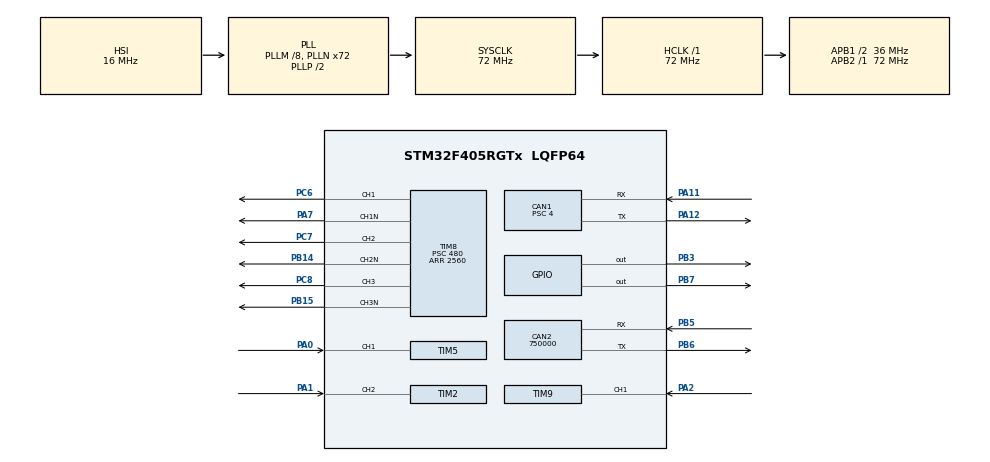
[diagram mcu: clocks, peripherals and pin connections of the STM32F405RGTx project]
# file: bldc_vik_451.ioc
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CAN1.BS1=CAN_BS1_15TQ
CAN1.BS2=CAN_BS2_2TQ
CAN1.CalculateBaudRate=500000
CAN1.CalculateTimeBit=1999.99
CAN1.CalculateTimeQuantum=111.11111111111111
CAN1.Prescaler=4
CAN2.CalculateBaudRate=750000
CAN2.CalculateTimeBit=1333.33
CAN2.CalculateTimeQuantum=444.44444444444446
Mcu.Family=STM32F4
Mcu.Name=STM32F405RGTx
Mcu.Package=LQFP64
NVIC.CAN1_RX0_IRQn=true\:0\:0\:false\:false\:true\:true\:true
NVIC.CAN1_SCE_IRQn=true\:0\:0\:false\:false\:true\:true\:true
NVIC.PriorityGroup=NVIC_PRIORITYGROUP_4
NVIC.TIM1_BRK_TIM9_IRQn=true\:0\:0\:false\:false\:true\:true\:true
NVIC.TIM2_IRQn=true\:0\:0\:false\:false\:true\:true\:true
NVIC.TIM5_IRQn=true\:0\:0\:false\:false\:true\:true\:true
NVIC.TIM6_DAC_IRQn=true\:0\:0\:false\:false\:true\:true\:true
NVIC.TIM7_IRQn=true\:0\:0\:false\:false\:true\:true\:true
PA0-WKUP.GPIO_PuPd=GPIO_PULLUP
PA0-WKUP.GPIO_Speed=GPIO_SPEED_FREQ_VERY_HIGH
PA0-WKUP.Signal=S_TIM5_CH1
PA1.GPIO_PuPd=GPIO_PULLUP
PA1.GPIO_Speed=GPIO_SPEED_FREQ_VERY_HIGH
PA1.Signal=S_TIM2_CH2
PA11.Mode=CAN_Activate
PA11.Signal=CAN1_RX
PA12.Mode=CAN_Activate
PA12.Signal=CAN1_TX
PA2.GPIO_PuPd=GPIO_PULLUP
PA2.GPIO_Speed=GPIO_SPEED_FREQ_VERY_HIGH
PA2.Signal=S_TIM9_CH1
PA7.Mode=PWM Generation1 CH1 CH1N
PA7.Signal=TIM8_CH1N
PB14.Mode=PWM Generation2 CH2 CH2N
PB14.Signal=TIM8_CH2N
PB15.Mode=PWM Generation3 CH3 CH3N
PB15.Signal=TIM8_CH3N
PB3.Signal=GPIO_Output
PB5.Mode=CAN_Activate
PB5.Signal=CAN2_RX
PB6.Mode=CAN_Activate
PB6.Signal=CAN2_TX
PB7.Signal=GPIO_Output
PB8.Signal=I2C1_SCL
PB9.Signal=I2C1_SDA
PC6.Signal=S_TIM8_CH1
PC7.Signal=S_TIM8_CH2
PC8.Signal=S_TIM8_CH3
ProjectManager.HeapSize=0x200
ProjectManager.StackSize=0x400
ProjectManager.TargetToolchain=MDK-ARM V5.32
RCC.48MHZClocksFreq_Value=36000000
RCC.AHBFreq_Value=72000000
RCC.APB1CLKDivider=RCC_HCLK_DIV2
RCC.APB1Freq_Value=36000000
RCC.APB1TimFreq_Value=72000000
RCC.APB2Freq_Value=72000000
RCC.APB2TimFreq_Value=72000000
RCC.CortexFreq_Value=72000000
RCC.HCLKFreq_Value=72000000
RCC.HSE_VALUE=25000000
RCC.HSI_VALUE=16000000
RCC.LSE_VALUE=32768
RCC.PLLM=8
RCC.PLLN=72
RCC.SYSCLKFreq_VALUE=72000000
RCC.SYSCLKSource=RCC_SYSCLKSOURCE_PLLCLK
RCC.VCOOutputFreq_Value=144000000
SH.S_TIM2_CH2.0=TIM2_CH2,Input_Capture2_from_TI2
SH.S_TIM5_CH1.0=TIM5_CH1,Input_Capture1_from_TI1
SH.S_TIM8_CH1.0=TIM8_CH1,PWM Generation1 CH1 CH1N
SH.S_TIM8_CH2.0=TIM8_CH2,PWM Generation2 CH2 CH2N
SH.S_TIM8_CH3.0=TIM8_CH3,PWM Generation3 CH3 CH3N
SH.S_TIM9_CH1.0=TIM9_CH1,Input_Capture1_from_TI1
TIM2.Channel-Input_Capture1_from_TI2_63=TIM_CHANNEL_1
TIM2.Channel-Input_Capture2_from_TI2=TIM_CHANNEL_2
TIM2.ICFilter_CH2=15
TIM2.ICPolarity_CH1=TIM_INPUTCHANNELPOLARITY_FALLING
TIM2.Period=0xFFFFFFF
TIM2.Prescaler=15
TIM5.Channel-Input_Capture1_from_TI1=TIM_CHANNEL_1
TIM5.Channel-Input_Capture2_from_TI1_63=TIM_CHANNEL_2
TIM5.ICFilter_CH1=15
TIM5.ICPolarity_CH2=TIM_INPUTCHANNELPOLARITY_FALLING
TIM5.Period=0xFFFFFFF
TIM5.Prescaler=15
TIM6.AutoReloadPreload=TIM_AUTORELOAD_PRELOAD_ENABLE
TIM6.Period=3000
TIM6.Prescaler=5
TIM7.Prescaler=5
TIM8.BreakPolarity=TIM_BREAKPOLARITY_LOW
TIM8.Channel-PWM\ Generation1\ CH1\ CH1N=TIM_CHANNEL_1
TIM8.Channel-PWM\ Generation2\ CH2\ CH2N=TIM_CHANNEL_2
TIM8.Channel-PWM\ Generation3\ CH3\ CH3N=TIM_CHANNEL_3
TIM8.DeadTime=20
TIM8.OCNIdleState_1=TIM_OCNIDLESTATE_RESET
TIM8.OCNIdleState_2=TIM_OCNIDLESTATE_RESET
TIM8.OCNIdleState_3=TIM_OCNIDLESTATE_RESET
TIM8.OCNPolarity_1=TIM_OCNPOLARITY_LOW
TIM8.OCNPolarity_2=TIM_OCNPOLARITY_LOW
TIM8.OCNPolarity_3=TIM_OCNPOLARITY_LOW
TIM8.OCPolarity_1=TIM_OCPOLARITY_LOW
TIM8.OCPolarity_2=TIM_OCPOLARITY_LOW
TIM8.OCPolarity_3=TIM_OCPOLARITY_LOW
TIM8.Period=2560
TIM8.Prescaler=480
TIM9.Channel-Input_Capture1_from_TI1=TIM_CHANNEL_1
TIM9.Channel-Input_Capture2_from_TI1_63=TIM_CHANNEL_2
TIM9.ICFilter_CH1=15
TIM9.ICPolarity_CH2=TIM_INPUTCHANNELPOLARITY_FALLING
TIM9.Prescaler=15
VP_TIM2_VS_ClockSourceINT.Mode=Internal
VP_TIM2_VS_indirect_ch2.Mode=Input_Capture1_from_TI2_63
VP_TIM5_VS_ClockSourceINT.Mode=Internal
VP_TIM5_VS_indirect_ch1.Mode=Input_Capture2_from_TI1_63
VP_TIM6_VS_ClockSourceINT.Mode=Enable_Timer
VP_TIM7_VS_ClockSourceINT.Mode=Enable_Timer
VP_TIM8_VS_ClockSourceINT.Mode=Internal
VP_TIM9_VS_ClockSourceINT.Mode=Internal
VP_TIM9_VS_indirect_ch1.Mode=Input_Capture2_from_TI1_63
board=custom

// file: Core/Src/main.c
/* USER CODE BEGIN Header */
/**
  ******************************************************************************
  * @file           : main.c
  * @brief          : Main program body
  ******************************************************************************
  * @attention
  *
  * <h2><center>&copy; Copyright (c) 2023 STMicroelectronics.
  * All rights reserved.</center></h2>
  *
  * This software component is licensed by ST under BSD 3-Clause license,
  * the "License"; You may not use this file except in compliance with the
  * License. You may obtain a copy of the License at:
  *                        opensource.org/licenses/BSD-3-Clause
  *
  ******************************************************************************
  */
/* USER CODE END Header */
#include "main.h"

/* USER CODE BEGIN Includes */

#define DEMCR           (*((volatile unsigned long*) (0xE000EDFC)))
#define TRCENA 0x01000000
/* USER CODE END Includes */

CAN_HandleTypeDef hcan1;
CAN_HandleTypeDef hcan2;

TIM_HandleTypeDef htim2;
TIM_HandleTypeDef htim5;
TIM_HandleTypeDef htim6;
TIM_HandleTypeDef htim7;
TIM_HandleTypeDef htim8;
TIM_HandleTypeDef htim9;

/* USER CODE BEGIN PV */
int32_t current_number = 0;
uint32_t tim6_counter_period = tim6_counter_period_high;
float speed = 0; //number of ticks between the HALL_A triggers
uint8_t H1 = HALL_DOWN;
uint8_t H2 = HALL_DOWN;
uint8_t H3 = HALL_DOWN;
uint32_t count_overflow = 0;
float mean_rate = 0;
uint32_t PMSM_PWM = 255;//up 255-899
int32_t timing = 0;
int32_t direction = 1;//direction of rotation
int32_t new_direction = 1;
uint8_t TIM8_PSC = 0;
uint8_t TIM6_PSC = 6;
uint8_t IsOK = 1;
float help = 240000;
float rate = 500;
float prev_rate = 0;
float mean_rate_prev = 0;
float mean_rate_help = 0;
float real_speed = 0;
float prev_real_speed = 0;
float set_PMSM_PWM_b = set_PMSM_PWM_b_regular;
uint32_t min_rate = 800;
uint16_t set_timing = 0;
uint32_t set_PMSM_PWM = 0;
int16_t trigger_position = 0;//Adjustment of the position in the PMSM_SINTABLE in accordance with the triggering of HALL_A

CAN_TxHeaderTypeDef TxHeader;
CAN_RxHeaderTypeDef RxHeader;
uint8_t TxData[8] = {0,};
uint8_t RxData[8] = {0,};
uint32_t TxMailbox = 0;

/* USER CODE END PV */

void SystemClock_Config(void);
static void MX_GPIO_Init(void);
static void MX_TIM8_Init(void);
static void MX_TIM6_Init(void);
static void MX_TIM5_Init(void);
static void MX_TIM2_Init(void);
static void MX_TIM9_Init(void);
static void MX_TIM7_Init(void);
static void MX_CAN1_Init(void);
static void MX_CAN2_Init(void);

/* USER CODE BEGIN 0 */
/*void HAL_CAN_RxFifo0MsgPendingCallback(CAN_HandleTypeDef *hcan)
{
    if(HAL_CAN_GetRxMessage(&hcan1, CAN_RX_FIFO0, &RxHeader, RxData) == HAL_OK)
    {
        rate = (float)RxData[0]*100;
    }
}*/
/* USER CODE END 0 */

int main(void)
{
  /* USER CODE BEGIN 1 */
	//initializing_variables();
  /* USER CODE END 1 */

  /* MCU Configuration--------------------------------------------------------*/

  /* Reset of all peripherals, Initializes the Flash interface and the Systick. */
  HAL_Init();

  /* Configure the system clock */
  SystemClock_Config();

  /* Initialize all configured peripherals */
  MX_GPIO_Init();
  MX_TIM8_Init();
  MX_TIM6_Init();
  MX_TIM5_Init();
  MX_TIM2_Init();
  MX_TIM9_Init();
  MX_TIM7_Init();
  MX_CAN1_Init();
  MX_CAN2_Init();
  /* USER CODE BEGIN 2 */
	HAL_GPIO_WritePin(GPIOB, GPIO_PIN_7, GPIO_PIN_SET);
	HAL_GPIO_WritePin(GPIOB, GPIO_PIN_3, GPIO_PIN_SET);

	HAL_TIM_PWM_Start(&htim8, TIM_CHANNEL_1);
	HAL_TIMEx_PWMN_Start(&htim8, TIM_CHANNEL_1);
	HAL_TIM_PWM_Start(&htim8, TIM_CHANNEL_2);
	HAL_TIMEx_PWMN_Start(&htim8, TIM_CHANNEL_2);
	HAL_TIM_PWM_Start(&htim8, TIM_CHANNEL_3);
	HAL_TIMEx_PWMN_Start(&htim8, TIM_CHANNEL_3);
	HAL_TIM_Base_Start_IT(&htim6);
	HAL_TIM_IC_Start_IT(&htim5, TIM_CHANNEL_1);
  HAL_TIM_IC_Start_IT(&htim5, TIM_CHANNEL_2);
	HAL_TIM_IC_Start_IT(&htim2, TIM_CHANNEL_1);
  HAL_TIM_IC_Start_IT(&htim2, TIM_CHANNEL_2);
	HAL_TIM_IC_Start_IT(&htim9, TIM_CHANNEL_1);
  HAL_TIM_IC_Start_IT(&htim9, TIM_CHANNEL_2);
	HAL_TIM_Base_Start_IT(&htim7);
	/*HAL_CAN_Start(&hcan1);
	HAL_CAN_ActivateNotification(&hcan1, CAN_IT_RX_FIFO0_MSG_PENDING | CAN_IT_ERROR | CAN_IT_BUSOFF | CAN_IT_LAST_ERROR_CODE);
	*/

  /* USER CODE END 2 */

  /* Infinite loop */
  while (1)
  {

  }
}

void SystemClock_Config(void)
{
  RCC_OscInitTypeDef RCC_OscInitStruct = {0};
  RCC_ClkInitTypeDef RCC_ClkInitStruct = {0};

  /** Configure the main internal regulator output voltage
  */
  __HAL_RCC_PWR_CLK_ENABLE();
  __HAL_PWR_VOLTAGESCALING_CONFIG(PWR_REGULATOR_VOLTAGE_SCALE1);
  /** Initializes the RCC Oscillators according to the specified parameters
  * in the RCC_OscInitTypeDef structure.
  */
  RCC_OscInitStruct.OscillatorType = RCC_OSCILLATORTYPE_HSI;
  RCC_OscInitStruct.HSIState = RCC_HSI_ON;
  RCC_OscInitStruct.HSICalibrationValue = RCC_HSICALIBRATION_DEFAULT;
  RCC_OscInitStruct.PLL.PLLState = RCC_PLL_ON;
  RCC_OscInitStruct.PLL.PLLSource = RCC_PLLSOURCE_HSI;
  RCC_OscInitStruct.PLL.PLLM = 8;
  RCC_OscInitStruct.PLL.PLLN = 72;
  RCC_OscInitStruct.PLL.PLLP = RCC_PLLP_DIV2;
  RCC_OscInitStruct.PLL.PLLQ = 4;
  if (HAL_RCC_OscConfig(&RCC_OscInitStruct) != HAL_OK)
  {
    Error_Handler();
  }
  /** Initializes the CPU, AHB and APB buses clocks
  */
  RCC_ClkInitStruct.ClockType = RCC_CLOCKTYPE_HCLK|RCC_CLOCKTYPE_SYSCLK
                              |RCC_CLOCKTYPE_PCLK1|RCC_CLOCKTYPE_PCLK2;
  RCC_ClkInitStruct.SYSCLKSource = RCC_SYSCLKSOURCE_PLLCLK;
  RCC_ClkInitStruct.AHBCLKDivider = RCC_SYSCLK_DIV1;
  RCC_ClkInitStruct.APB1CLKDivider = RCC_HCLK_DIV2;
  RCC_ClkInitStruct.APB2CLKDivider = RCC_HCLK_DIV1;

  if (HAL_RCC_ClockConfig(&RCC_ClkInitStruct, FLASH_LATENCY_2) != HAL_OK)
  {
    Error_Handler();
  }
}

static void MX_CAN1_Init(void)
{

  /* USER CODE BEGIN CAN1_Init 0 */
  //CAN_FilterTypeDef  sFilterConfig;
  /* USER CODE END CAN1_Init 0 */

  hcan1.Instance = CAN1;
  hcan1.Init.Prescaler = 4;
  hcan1.Init.Mode = CAN_MODE_NORMAL;
  hcan1.Init.SyncJumpWidth = CAN_SJW_1TQ;
  hcan1.Init.TimeSeg1 = CAN_BS1_15TQ;
  hcan1.Init.TimeSeg2 = CAN_BS2_2TQ;
  hcan1.Init.TimeTriggeredMode = DISABLE;
  hcan1.Init.AutoBusOff = DISABLE;
  hcan1.Init.AutoWakeUp = DISABLE;
  hcan1.Init.AutoRetransmission = DISABLE;
  hcan1.Init.ReceiveFifoLocked = DISABLE;
  hcan1.Init.TransmitFifoPriority = DISABLE;
  if (HAL_CAN_Init(&hcan1) != HAL_OK)
  {
    Error_Handler();
  }
  /* USER CODE BEGIN CAN1_Init 2 */
	/*
  sFilterConfig.FilterBank = 0;
	sFilterConfig.FilterMode = CAN_FILTERMODE_IDMASK;
	sFilterConfig.FilterScale = CAN_FILTERSCALE_32BIT;
	sFilterConfig.FilterIdHigh = 0x0000;
	sFilterConfig.FilterIdLow = 0x0000;
	sFilterConfig.FilterMaskIdHigh = 0x0000;
	sFilterConfig.FilterMaskIdLow = 0x0000;
	sFilterConfig.FilterFIFOAssignment = CAN_RX_FIFO0;
	sFilterConfig.FilterActivation = ENABLE;
	//sFilterConfig.SlaveStartFilterBank = 14;

	if(HAL_CAN_ConfigFilter(&hcan1, &sFilterConfig) != HAL_OK)
	{
	Error_Handler();
	}*/
  /* USER CODE END CAN1_Init 2 */

}

static void MX_CAN2_Init(void)
{

  hcan2.Instance = CAN2;
  hcan2.Init.Prescaler = 16;
  hcan2.Init.Mode = CAN_MODE_NORMAL;
  hcan2.Init.SyncJumpWidth = CAN_SJW_1TQ;
  hcan2.Init.TimeSeg1 = CAN_BS1_1TQ;
  hcan2.Init.TimeSeg2 = CAN_BS2_1TQ;
  hcan2.Init.TimeTriggeredMode = DISABLE;
  hcan2.Init.AutoBusOff = DISABLE;
  hcan2.Init.AutoWakeUp = DISABLE;
  hcan2.Init.AutoRetransmission = DISABLE;
  hcan2.Init.ReceiveFifoLocked = DISABLE;
  hcan2.Init.TransmitFifoPriority = DISABLE;
  if (HAL_CAN_Init(&hcan2) != HAL_OK)
  {
    Error_Handler();
  }

}

static void MX_TIM2_Init(void)
{

  TIM_ClockConfigTypeDef sClockSourceConfig = {0};
  TIM_MasterConfigTypeDef sMasterConfig = {0};
  TIM_IC_InitTypeDef sConfigIC = {0};

  htim2.Instance = TIM2;
  htim2.Init.Prescaler = 15;
  htim2.Init.CounterMode = TIM_COUNTERMODE_UP;
  htim2.Init.Period = 0xFFFFFFF;
  htim2.Init.ClockDivision = TIM_CLOCKDIVISION_DIV1;
  htim2.Init.AutoReloadPreload = TIM_AUTORELOAD_PRELOAD_DISABLE;
  if (HAL_TIM_Base_Init(&htim2) != HAL_OK)
  {
    Error_Handler();
  }
  sClockSourceConfig.ClockSource = TIM_CLOCKSOURCE_INTERNAL;
  if (HAL_TIM_ConfigClockSource(&htim2, &sClockSourceConfig) != HAL_OK)
  {
    Error_Handler();
  }
  if (HAL_TIM_IC_Init(&htim2) != HAL_OK)
  {
    Error_Handler();
  }
  sMasterConfig.MasterOutputTrigger = TIM_TRGO_RESET;
  sMasterConfig.MasterSlaveMode = TIM_MASTERSLAVEMODE_DISABLE;
  if (HAL_TIMEx_MasterConfigSynchronization(&htim2, &sMasterConfig) != HAL_OK)
  {
    Error_Handler();
  }
  sConfigIC.ICPolarity = TIM_INPUTCHANNELPOLARITY_FALLING;
  sConfigIC.ICSelection = TIM_ICSELECTION_INDIRECTTI;
  sConfigIC.ICPrescaler = TIM_ICPSC_DIV1;
  sConfigIC.ICFilter = 0;
  if (HAL_TIM_IC_ConfigChannel(&htim2, &sConfigIC, TIM_CHANNEL_1) != HAL_OK)
  {
    Error_Handler();
  }
  sConfigIC.ICPolarity = TIM_INPUTCHANNELPOLARITY_RISING;
  sConfigIC.ICSelection = TIM_ICSELECTION_DIRECTTI;
  sConfigIC.ICFilter = 15;
  if (HAL_TIM_IC_ConfigChannel(&htim2, &sConfigIC, TIM_CHANNEL_2) != HAL_OK)
  {
    Error_Handler();
  }

}

static void MX_TIM5_Init(void)
{

  TIM_ClockConfigTypeDef sClockSourceConfig = {0};
  TIM_MasterConfigTypeDef sMasterConfig = {0};
  TIM_IC_InitTypeDef sConfigIC = {0};

  htim5.Instance = TIM5;
  htim5.Init.Prescaler = 15;
  htim5.Init.CounterMode = TIM_COUNTERMODE_UP;
  htim5.Init.Period = 0xFFFFFFF;
  htim5.Init.ClockDivision = TIM_CLOCKDIVISION_DIV1;
  htim5.Init.AutoReloadPreload = TIM_AUTORELOAD_PRELOAD_DISABLE;
  if (HAL_TIM_Base_Init(&htim5) != HAL_OK)
  {
    Error_Handler();
  }
  sClockSourceConfig.ClockSource = TIM_CLOCKSOURCE_INTERNAL;
  if (HAL_TIM_ConfigClockSource(&htim5, &sClockSourceConfig) != HAL_OK)
  {
    Error_Handler();
  }
  if (HAL_TIM_IC_Init(&htim5) != HAL_OK)
  {
    Error_Handler();
  }
  sMasterConfig.MasterOutputTrigger = TIM_TRGO_RESET;
  sMasterConfig.MasterSlaveMode = TIM_MASTERSLAVEMODE_DISABLE;
  if (HAL_TIMEx_MasterConfigSynchronization(&htim5, &sMasterConfig) != HAL_OK)
  {
    Error_Handler();
  }
  sConfigIC.ICPolarity = TIM_INPUTCHANNELPOLARITY_RISING;
  sConfigIC.ICSelection = TIM_ICSELECTION_DIRECTTI;
  sConfigIC.ICPrescaler = TIM_ICPSC_DIV1;
  sConfigIC.ICFilter = 15;
  if (HAL_TIM_IC_ConfigChannel(&htim5, &sConfigIC, TIM_CHANNEL_1) != HAL_OK)
  {
    Error_Handler();
  }
  sConfigIC.ICPolarity = TIM_INPUTCHANNELPOLARITY_FALLING;
  sConfigIC.ICSelection = TIM_ICSELECTION_INDIRECTTI;
  sConfigIC.ICFilter = 0;
  if (HAL_TIM_IC_ConfigChannel(&htim5, &sConfigIC, TIM_CHANNEL_2) != HAL_OK)
  {
    Error_Handler();
  }

}

static void MX_TIM6_Init(void)
{

  TIM_MasterConfigTypeDef sMasterConfig = {0};

  htim6.Instance = TIM6;
  htim6.Init.Prescaler = 5;
  htim6.Init.CounterMode = TIM_COUNTERMODE_UP;
  htim6.Init.Period = 3000;
  htim6.Init.AutoReloadPreload = TIM_AUTORELOAD_PRELOAD_ENABLE;
  if (HAL_TIM_Base_Init(&htim6) != HAL_OK)
  {
    Error_Handler();
  }
  sMasterConfig.MasterOutputTrigger = TIM_TRGO_RESET;
  sMasterConfig.MasterSlaveMode = TIM_MASTERSLAVEMODE_DISABLE;
  if (HAL_TIMEx_MasterConfigSynchronization(&htim6, &sMasterConfig) != HAL_OK)
  {
    Error_Handler();
  }

}

static void MX_TIM7_Init(void)
{

  TIM_MasterConfigTypeDef sMasterConfig = {0};

  htim7.Instance = TIM7;
  htim7.Init.Prescaler = 5;
  htim7.Init.CounterMode = TIM_COUNTERMODE_UP;
  htim7.Init.Period = 65535;
  htim7.Init.AutoReloadPreload = TIM_AUTORELOAD_PRELOAD_DISABLE;
  if (HAL_TIM_Base_Init(&htim7) != HAL_OK)
  {
    Error_Handler();
  }
  sMasterConfig.MasterOutputTrigger = TIM_TRGO_RESET;
  sMasterConfig.MasterSlaveMode = TIM_MASTERSLAVEMODE_DISABLE;
  if (HAL_TIMEx_MasterConfigSynchronization(&htim7, &sMasterConfig) != HAL_OK)
  {
    Error_Handler();
  }

}

static void MX_TIM8_Init(void)
{

  TIM_ClockConfigTypeDef sClockSourceConfig = {0};
  TIM_MasterConfigTypeDef sMasterConfig = {0};
  TIM_OC_InitTypeDef sConfigOC = {0};
  TIM_BreakDeadTimeConfigTypeDef sBreakDeadTimeConfig = {0};

  htim8.Instance = TIM8;
  htim8.Init.Prescaler = 480;
  htim8.Init.CounterMode = TIM_COUNTERMODE_UP;
  htim8.Init.Period = 2560;
  htim8.Init.ClockDivision = TIM_CLOCKDIVISION_DIV1;
  htim8.Init.RepetitionCounter = 0;
  htim8.Init.AutoReloadPreload = TIM_AUTORELOAD_PRELOAD_DISABLE;
  if (HAL_TIM_Base_Init(&htim8) != HAL_OK)
  {
    Error_Handler();
  }
  sClockSourceConfig.ClockSource = TIM_CLOCKSOURCE_INTERNAL;
  if (HAL_TIM_ConfigClockSource(&htim8, &sClockSourceConfig) != HAL_OK)
  {
    Error_Handler();
  }
  if (HAL_TIM_PWM_Init(&htim8) != HAL_OK)
  {
    Error_Handler();
  }
  sMasterConfig.MasterOutputTrigger = TIM_TRGO_RESET;
  sMasterConfig.MasterSlaveMode = TIM_MASTERSLAVEMODE_DISABLE;
  if (HAL_TIMEx_MasterConfigSynchronization(&htim8, &sMasterConfig) != HAL_OK)
  {
    Error_Handler();
  }
  sConfigOC.OCMode = TIM_OCMODE_PWM1;
  sConfigOC.Pulse = 0;
  sConfigOC.OCPolarity = TIM_OCPOLARITY_LOW;
  sConfigOC.OCNPolarity = TIM_OCNPOLARITY_LOW;
  sConfigOC.OCFastMode = TIM_OCFAST_DISABLE;
  sConfigOC.OCIdleState = TIM_OCIDLESTATE_RESET;
  sConfigOC.OCNIdleState = TIM_OCNIDLESTATE_RESET;
  if (HAL_TIM_PWM_ConfigChannel(&htim8, &sConfigOC, TIM_CHANNEL_1) != HAL_OK)
  {
    Error_Handler();
  }
  if (HAL_TIM_PWM_ConfigChannel(&htim8, &sConfigOC, TIM_CHANNEL_2) != HAL_OK)
  {
    Error_Handler();
  }
  if (HAL_TIM_PWM_ConfigChannel(&htim8, &sConfigOC, TIM_CHANNEL_3) != HAL_OK)
  {
    Error_Handler();
  }
  sBreakDeadTimeConfig.OffStateRunMode = TIM_OSSR_DISABLE;
  sBreakDeadTimeConfig.OffStateIDLEMode = TIM_OSSI_DISABLE;
  sBreakDeadTimeConfig.LockLevel = TIM_LOCKLEVEL_OFF;
  sBreakDeadTimeConfig.DeadTime = 20;
  sBreakDeadTimeConfig.BreakState = TIM_BREAK_DISABLE;
  sBreakDeadTimeConfig.BreakPolarity = TIM_BREAKPOLARITY_LOW;
  sBreakDeadTimeConfig.AutomaticOutput = TIM_AUTOMATICOUTPUT_DISABLE;
  if (HAL_TIMEx_ConfigBreakDeadTime(&htim8, &sBreakDeadTimeConfig) != HAL_OK)
  {
    Error_Handler();
  }
  HAL_TIM_MspPostInit(&htim8);

}

static void MX_TIM9_Init(void)
{

  TIM_ClockConfigTypeDef sClockSourceConfig = {0};
  TIM_IC_InitTypeDef sConfigIC = {0};

  htim9.Instance = TIM9;
  htim9.Init.Prescaler = 15;
  htim9.Init.CounterMode = TIM_COUNTERMODE_UP;
  htim9.Init.Period = 65535;
  htim9.Init.ClockDivision = TIM_CLOCKDIVISION_DIV1;
  htim9.Init.AutoReloadPreload = TIM_AUTORELOAD_PRELOAD_DISABLE;
  if (HAL_TIM_Base_Init(&htim9) != HAL_OK)
  {
    Error_Handler();
  }
  sClockSourceConfig.ClockSource = TIM_CLOCKSOURCE_INTERNAL;
  if (HAL_TIM_ConfigClockSource(&htim9, &sClockSourceConfig) != HAL_OK)
  {
    Error_Handler();
  }
  if (HAL_TIM_IC_Init(&htim9) != HAL_OK)
  {
    Error_Handler();
  }
  sConfigIC.ICPolarity = TIM_INPUTCHANNELPOLARITY_RISING;
  sConfigIC.ICSelection = TIM_ICSELECTION_DIRECTTI;
  sConfigIC.ICPrescaler = TIM_ICPSC_DIV1;
  sConfigIC.ICFilter = 15;
  if (HAL_TIM_IC_ConfigChannel(&htim9, &sConfigIC, TIM_CHANNEL_1) != HAL_OK)
  {
    Error_Handler();
  }
  sConfigIC.ICPolarity = TIM_INPUTCHANNELPOLARITY_FALLING;
  sConfigIC.ICSelection = TIM_ICSELECTION_INDIRECTTI;
  sConfigIC.ICFilter = 0;
  if (HAL_TIM_IC_ConfigChannel(&htim9, &sConfigIC, TIM_CHANNEL_2) != HAL_OK)
  {
    Error_Handler();
  }

}

static void MX_GPIO_Init(void)
{
  GPIO_InitTypeDef GPIO_InitStruct = {0};

  /* GPIO Ports Clock Enable */
  __HAL_RCC_GPIOA_CLK_ENABLE();
  __HAL_RCC_GPIOB_CLK_ENABLE();
  __HAL_RCC_GPIOC_CLK_ENABLE();

  /*Configure GPIO pin Output Level */
  HAL_GPIO_WritePin(GPIOB, GPIO_PIN_3|GPIO_PIN_7, GPIO_PIN_RESET);

  /*Configure GPIO pins : PB3 PB7 */
  GPIO_InitStruct.Pin = GPIO_PIN_3|GPIO_PIN_7;
  GPIO_InitStruct.Mode = GPIO_MODE_OUTPUT_PP;
  GPIO_InitStruct.Pull = GPIO_NOPULL;
  GPIO_InitStruct.Speed = GPIO_SPEED_FREQ_LOW;
  HAL_GPIO_Init(GPIOB, &GPIO_InitStruct);

  /*Configure GPIO pins : PB8 PB9 */
  GPIO_InitStruct.Pin = GPIO_PIN_8|GPIO_PIN_9;
  GPIO_InitStruct.Mode = GPIO_MODE_AF_OD;
  GPIO_InitStruct.Pull = GPIO_NOPULL;
  GPIO_InitStruct.Speed = GPIO_SPEED_FREQ_VERY_HIGH;
  GPIO_InitStruct.Alternate = GPIO_AF4_I2C1;
  HAL_GPIO_Init(GPIOB, &GPIO_InitStruct);

}

void Error_Handler(void)
{
  __disable_irq();
  while (1)
  {
  }
}

/************************ (C) COPYRIGHT STMicroelectronics *****END OF FILE****/
